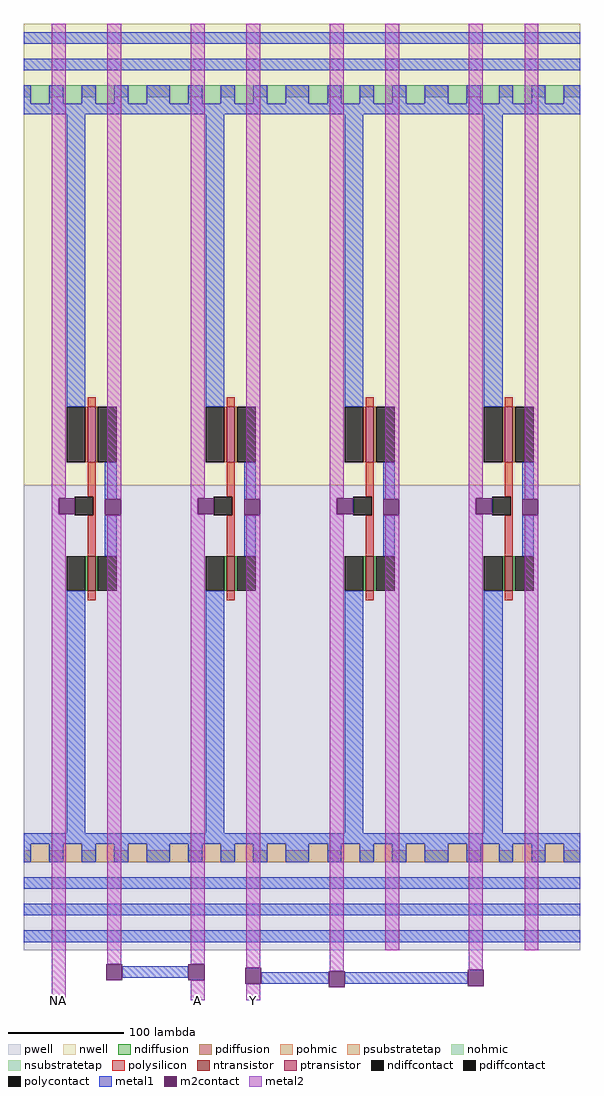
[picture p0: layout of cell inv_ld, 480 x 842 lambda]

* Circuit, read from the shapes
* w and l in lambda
.subckt inv_ld A GND! NA Vdd! Y
M1 A NA GND! VSUBS nfet w=30 l=7
M2 Y A GND! VSUBS nfet w=30 l=7
M3 inv_1/Y Y GND! VSUBS nfet w=30 l=7
M4 inv_2/Y Y GND! VSUBS nfet w=30 l=7
M5 A NA Vdd! n1 pfet w=48 l=7
M6 Y A Vdd! n1 pfet w=48 l=7
M7 inv_1/Y Y Vdd! n1 pfet w=48 l=7
M8 inv_2/Y Y Vdd! n1 pfet w=48 l=7
.ends

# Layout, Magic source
magic
tech c035u
<< metal1 >>
rect 85 19 142 29
rect 205 14 263 24
rect 277 14 383 24
<< m2contact >>
rect 71 17 85 31
rect 142 17 156 31
rect 191 14 205 28
rect 263 11 277 25
rect 383 12 397 26
<< metal2 >>
rect 24 0 36 43
rect 72 31 84 43
rect 144 31 156 43
rect 192 28 204 43
rect 144 0 156 17
rect 264 25 276 43
rect 384 26 396 43
rect 192 0 204 14
use inv inv_3
transform 1 0 0 0 1 43
box 0 0 120 799
use inv inv_0
transform 1 0 120 0 1 43
box 0 0 120 799
use inv inv_1
transform 1 0 240 0 1 43
box 0 0 120 799
use inv inv_2
transform 1 0 360 0 1 43
box 0 0 120 799
<< labels >>
rlabel metal2 24 0 36 0 1 NA
rlabel metal2 144 0 156 0 1 A
rlabel metal2 192 0 204 0 1 Y
<< end >>

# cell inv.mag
magic
tech c035u
<< nwell >>
rect 0 401 120 799
<< pwell >>
rect 0 0 120 401
<< polysilicon >>
rect 55 469 62 477
rect 55 391 62 421
rect 60 375 62 391
rect 55 340 62 375
rect 55 302 62 310
<< ndiffusion >>
rect 53 310 55 340
rect 62 310 64 340
<< pdiffusion >>
rect 53 421 55 469
rect 62 421 64 469
<< pohmic >>
rect 0 76 6 86
rect 22 76 34 86
rect 50 76 62 86
rect 78 76 90 86
rect 106 76 120 86
<< nohmic >>
rect 0 736 6 746
rect 22 736 34 746
rect 50 736 62 746
rect 78 736 90 746
rect 106 736 120 746
<< ntransistor >>
rect 55 310 62 340
<< ptransistor >>
rect 55 421 62 469
<< polycontact >>
rect 44 375 60 391
<< ndiffcontact >>
rect 37 310 53 340
rect 64 310 80 340
<< pdiffcontact >>
rect 37 421 53 469
rect 64 421 80 469
<< psubstratetap >>
rect 6 76 22 92
rect 34 76 50 92
rect 62 76 78 92
rect 90 76 106 92
<< nsubstratetap >>
rect 6 730 22 746
rect 34 730 50 746
rect 62 730 78 746
rect 90 730 106 746
<< metal1 >>
rect 0 782 120 792
rect 0 759 120 769
rect 0 730 6 746
rect 22 730 34 746
rect 50 730 62 746
rect 78 730 90 746
rect 106 730 120 746
rect 0 721 120 730
rect 37 469 53 721
rect 70 389 80 421
rect 70 340 80 375
rect 37 101 53 310
rect 0 92 120 101
rect 0 76 6 92
rect 22 76 34 92
rect 50 76 62 92
rect 78 76 90 92
rect 106 76 120 92
rect 0 53 120 63
rect 0 30 120 40
rect 0 7 120 17
<< m2contact >>
rect 30 376 44 390
rect 70 375 84 389
<< metal2 >>
rect 24 390 36 799
rect 24 376 30 390
rect 72 389 84 799
rect 24 0 36 376
rect 72 0 84 375
<< labels >>
rlabel metal1 0 721 0 746 7 Vdd!
rlabel metal1 0 759 0 769 7 Scan
rlabel metal1 0 782 0 792 6 ScanReturn
rlabel metal1 120 721 120 746 7 Vdd!
rlabel metal1 120 759 120 769 7 Scan
rlabel metal1 120 782 120 792 6 ScanReturn
rlabel metal2 24 799 36 799 5 A
rlabel metal2 72 799 84 799 5 Y
rlabel metal1 0 76 0 101 7 GND!
rlabel metal1 0 53 0 63 7 Clock
rlabel metal1 0 30 0 40 7 Test
rlabel metal1 0 7 0 17 8 nReset
rlabel metal1 120 7 120 17 8 nReset
rlabel metal1 120 30 120 40 7 Test
rlabel metal1 120 53 120 63 7 Clock
rlabel metal1 120 76 120 101 7 GND!
rlabel metal2 24 0 36 0 1 A
rlabel metal2 72 0 84 0 1 Y
<< end >>
